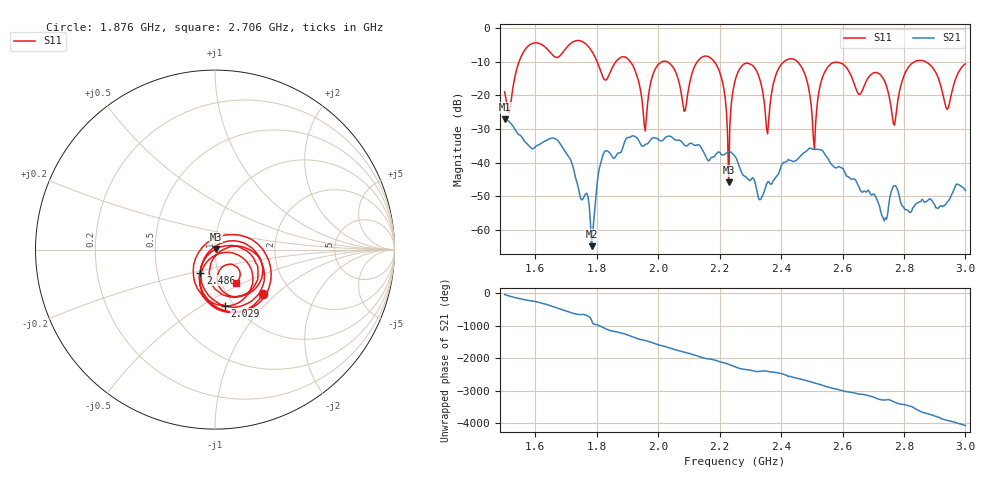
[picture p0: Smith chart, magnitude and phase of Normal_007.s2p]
# HZ S RI R 50
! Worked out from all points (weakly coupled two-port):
!   404 points, 1.5 GHz to 3 GHz, reference 50 ohm
!   highest |S21| = -27.03 dB at 1.5 GHz (marker M1); lowest = -64.8 dB at 1.783 GHz (marker M2)
!   lowest |S11| = -45.8 dB at 2.23 GHz (marker M3), VSWR 1.01, Z = 50.4 + j0.333 ohm
!   |S11| at or under -10 dB: 2.183 GHz to 2.409 GHz (225.7 MHz wide, 9.83 % of centre); 2.454 GHz to 2.834 GHz (380 MHz wide, 14.4 % of centre); 2.872 GHz to end of sweep (the widest 3 of 7)
!   S12 and S22 are empty: the file has one direction only
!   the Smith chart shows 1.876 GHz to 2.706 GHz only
!   S11 on the Smith chart (normalised r, x): 1.876 GHz: 1.45, -0.82; 2.029 GHz: 0.91, -0.63; 2.486 GHz: 0.82, -0.22; 2.706 GHz: 1.17, -0.46
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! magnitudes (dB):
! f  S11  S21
! 1.5 GHz  -18.9  -27.0
! 1.753 GHz  -4.0  -51.0
! 1.783 GHz  -6.7  -64.8
! 1.82 GHz  -14.6  -37.7
! 1.876 GHz  -8.8  -37.0
! 1.958 GHz  -30.6  -34.6
! 2.002 GHz  -10.6  -33.2
! 2.029 GHz  -10.0  -32.2
! 2.084 GHz  -24.7  -34.6
! 2.177 GHz  -9.4  -38.3
! 2.23 GHz  -45.8  -36.7
! 2.252 GHz  -15.1  -38.4
! 2.334 GHz  -16.2  -50.9
! 2.356 GHz  -31.4  -45.7
! 2.408 GHz  -10.0  -39.9
! 2.486 GHz  -16.4  -36.3
! 2.501 GHz  -26.3  -35.9
! 2.561 GHz  -10.7  -40.1
! 2.706 GHz  -13.2  -49.8
! 2.751 GHz  -19.8  -52.4
! 2.94 GHz  -24.1  -51.7
! 3 GHz  -10.6  -48.3
